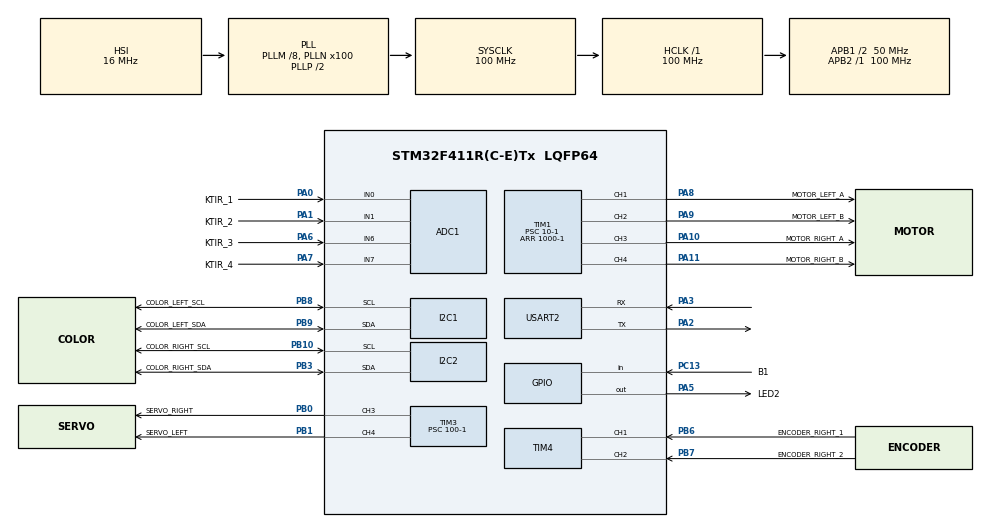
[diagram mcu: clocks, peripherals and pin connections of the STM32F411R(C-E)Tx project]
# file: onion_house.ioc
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ADC1.Channel-0\#ChannelRegularConversion=ADC_CHANNEL_0
ADC1.Channel-1\#ChannelRegularConversion=ADC_CHANNEL_1
ADC1.Channel-2\#ChannelRegularConversion=ADC_CHANNEL_6
ADC1.Channel-3\#ChannelRegularConversion=ADC_CHANNEL_7
ADC1.NbrOfConversion=4
ADC1.NbrOfConversionFlag=1
ADC1.Rank-0\#ChannelRegularConversion=1
ADC1.Rank-1\#ChannelRegularConversion=2
ADC1.Rank-2\#ChannelRegularConversion=3
ADC1.Rank-3\#ChannelRegularConversion=4
ADC1.SamplingTime-0\#ChannelRegularConversion=ADC_SAMPLETIME_3CYCLES
ADC1.SamplingTime-1\#ChannelRegularConversion=ADC_SAMPLETIME_3CYCLES
ADC1.SamplingTime-2\#ChannelRegularConversion=ADC_SAMPLETIME_3CYCLES
ADC1.SamplingTime-3\#ChannelRegularConversion=ADC_SAMPLETIME_3CYCLES
ADC1.master=1
Dma.ADC1.0.Direction=DMA_PERIPH_TO_MEMORY
Dma.ADC1.0.FIFOMode=DMA_FIFOMODE_DISABLE
Dma.ADC1.0.Instance=DMA2_Stream0
Dma.ADC1.0.MemDataAlignment=DMA_MDATAALIGN_HALFWORD
Dma.ADC1.0.MemInc=DMA_MINC_ENABLE
Dma.ADC1.0.Mode=DMA_NORMAL
Dma.ADC1.0.PeriphDataAlignment=DMA_PDATAALIGN_HALFWORD
Dma.ADC1.0.PeriphInc=DMA_PINC_DISABLE
Dma.ADC1.0.Priority=DMA_PRIORITY_LOW
Dma.Request0=ADC1
Mcu.Family=STM32F4
Mcu.Name=STM32F411R(C-E)Tx
Mcu.Package=LQFP64
NVIC.DMA2_Stream0_IRQn=true\:0\:0\:false\:false\:true\:false\:true
NVIC.PriorityGroup=NVIC_PRIORITYGROUP_4
PA0-WKUP.GPIO_Label=KTIR_1
PA0-WKUP.Signal=ADCx_IN0
PA1.GPIO_Label=KTIR_2
PA1.Signal=ADCx_IN1
PA10.GPIO_Label=MOTOR_RIGHT_A
PA10.Signal=S_TIM1_CH3
PA11.GPIO_Label=MOTOR_RIGHT_B
PA11.Signal=S_TIM1_CH4
PA2.Mode=Asynchronous
PA2.Signal=USART2_TX
PA3.Mode=Asynchronous
PA3.Signal=USART2_RX
PA5.GPIO_Label=LED2
PA5.Signal=GPIO_Output
PA6.GPIO_Label=KTIR_3
PA6.Signal=ADCx_IN6
PA7.GPIO_Label=KTIR_4
PA7.Signal=ADCx_IN7
PA8.GPIO_Label=MOTOR_LEFT_A
PA8.Signal=S_TIM1_CH1
PA9.GPIO_Label=MOTOR_LEFT_B
PA9.Signal=S_TIM1_CH2
PB0.GPIO_Label=SERVO_RIGHT
PB0.Signal=S_TIM3_CH3
PB1.GPIO_Label=SERVO_LEFT
PB1.Signal=S_TIM3_CH4
PB10.GPIO_Label=COLOR_RIGHT_SCL
PB10.GPIO_Pu=GPIO_PULLUP
PB10.Mode=I2C
PB10.Signal=I2C2_SCL
PB3.GPIO_Label=COLOR_RIGHT_SDA
PB3.GPIO_Pu=GPIO_PULLUP
PB3.Mode=I2C
PB3.Signal=I2C2_SDA
PB6.GPIO_Label=ENCODER_RIGHT_1
PB6.GPIO_ModeDefaultPP=GPIO_MODE_AF_PP
PB6.GPIO_PuPd=GPIO_NOPULL
PB6.GPIO_Speed=GPIO_SPEED_FREQ_LOW
PB6.Signal=S_TIM4_CH1
PB7.GPIO_Label=ENCODER_RIGHT_2
PB7.GPIO_ModeDefaultPP=GPIO_MODE_AF_PP
PB7.GPIO_PuPd=GPIO_NOPULL
PB7.GPIO_Speed=GPIO_SPEED_FREQ_LOW
PB7.Signal=S_TIM4_CH2
PB8.GPIO_Label=COLOR_LEFT_SCL
PB8.GPIO_Pu=GPIO_PULLUP
PB8.Mode=I2C
PB8.Signal=I2C1_SCL
PB9.GPIO_Label=COLOR_LEFT_SDA
PB9.GPIO_Pu=GPIO_PULLUP
PB9.Mode=I2C
PB9.Signal=I2C1_SDA
PC13-ANTI_TAMP.GPIO_Label=B1
PC13-ANTI_TAMP.Signal=GPIO_Input
PH0\ -\ OSC_IN.Mode=HSE-External-Oscillator
PH0\ -\ OSC_IN.Signal=RCC_OSC_IN
PH1\ -\ OSC_OUT.Mode=HSE-External-Oscillator
PH1\ -\ OSC_OUT.Signal=RCC_OSC_OUT
ProjectManager.HeapSize=0x200
ProjectManager.StackSize=0x400
ProjectManager.TargetToolchain=STM32CubeIDE
RCC.48MHZClocksFreq_Value=50000000
RCC.AHBFreq_Value=100000000
RCC.APB1CLKDivider=RCC_HCLK_DIV2
RCC.APB1Freq_Value=50000000
RCC.APB1TimFreq_Value=100000000
RCC.APB2Freq_Value=100000000
RCC.APB2TimFreq_Value=100000000
RCC.CortexFreq_Value=100000000
RCC.HCLKFreq_Value=100000000
RCC.HSE_VALUE=25000000
RCC.HSI_VALUE=16000000
RCC.LSE_VALUE=32768
RCC.PLLM=8
RCC.PLLN=100
RCC.SYSCLKFreq_VALUE=100000000
RCC.SYSCLKSource=RCC_SYSCLKSOURCE_PLLCLK
RCC.VCOOutputFreq_Value=200000000
SH.ADCx_IN0.0=ADC1_IN0,IN0
SH.ADCx_IN1.0=ADC1_IN1,IN1
SH.ADCx_IN6.0=ADC1_IN6,IN6
SH.ADCx_IN7.0=ADC1_IN7,IN7
SH.S_TIM1_CH1.0=TIM1_CH1,PWM Generation1 CH1
SH.S_TIM1_CH2.0=TIM1_CH2,PWM Generation2 CH2
SH.S_TIM1_CH3.0=TIM1_CH3,PWM Generation3 CH3
SH.S_TIM1_CH4.0=TIM1_CH4,PWM Generation4 CH4
SH.S_TIM3_CH3.0=TIM3_CH3,PWM Generation3 CH3
SH.S_TIM3_CH4.0=TIM3_CH4,PWM Generation4 CH4
SH.S_TIM4_CH1.0=TIM4_CH1,Encoder_Interface
SH.S_TIM4_CH2.0=TIM4_CH2,Encoder_Interface
TIM1.Channel-PWM\ Generation1\ CH1=TIM_CHANNEL_1
TIM1.Channel-PWM\ Generation2\ CH2=TIM_CHANNEL_2
TIM1.Channel-PWM\ Generation3\ CH3=TIM_CHANNEL_3
TIM1.Channel-PWM\ Generation4\ CH4=TIM_CHANNEL_4
TIM1.Period=1000-1
TIM1.Prescaler=10-1
TIM3.Channel-PWM\ Generation3\ CH3=TIM_CHANNEL_3
TIM3.Channel-PWM\ Generation4\ CH4=TIM_CHANNEL_4
TIM3.Period=20000-1
TIM3.Prescaler=100-1
TIM3.Pulse-PWM\ Generation3\ CH3=1000
TIM3.Pulse-PWM\ Generation4\ CH4=1000
TIM4.EncoderMode=TIM_ENCODERMODE_TI12
TIM4.IC1Filter=15
TIM4.IC2Filter=15
USART2.VirtualMode=VM_ASYNC
board=custom

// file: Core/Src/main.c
/* USER CODE BEGIN Header */
/**
  ******************************************************************************
  * @file           : main.c
  * @brief          : Main program body
  ******************************************************************************
  * @attention
  *
  * Copyright (c) 2022 STMicroelectronics.
  * All rights reserved.
  *
  * This software is licensed under terms that can be found in the LICENSE file
  * in the root directory of this software component.
  * If no LICENSE file comes with this software, it is provided AS-IS.
  *
  ******************************************************************************
  */
/* USER CODE END Header */
#include "main.h"

/* USER CODE BEGIN Includes */
#include <stdio.h>
#include "encoder.h"
#include "ktir_sensor.h"
#include "motor.h"
#include "servo.h"
#include "TCS34725.h"
/* USER CODE END Includes */

/* USER CODE BEGIN PD */
#define SERVO_RIGHT_CHANNEL TIM_CHANNEL_3
#define SERVO_RIGHT_TIMER htim3
#define SERVO_LEFT_CHANNEL TIM_CHANNEL_4
#define SERVO_LEFT_TIMER htim3

#define SERVO_RIGHT_START_POSITION 60
#define SERVO_LEFT_START_POSITION 100
#define SERVO_RIGHT_OUT_POSITION 170 //wyrzuca przedmiot
#define SERVO_LEFT_OUT_POSITION 10
#define SERVO_RIGHT_IN_POSITION 0 //wpuszcza przedmiot
#define SERVO_LEFT_IN_POSITION 180

#define CROSSING_DELAY 200 //czas po jakim od wykrycia skrzyżowania zaczynam skręcać

#define MOTOR_RIGHT_CHANNEL_A TIM_CHANNEL_3
#define MOTOR_RIGHT_CHANNEL_B TIM_CHANNEL_4
#define MOTOR_RIGHT_TIMER htim1

#define MOTOR_BASE_SPEED 45 //prędkość silnika podstawowa <0; 100>

#define MOTOR_LEFT_CHANNEL_A TIM_CHANNEL_2
#define MOTOR_LEFT_CHANNEL_B TIM_CHANNEL_1
#define MOTOR_LEFT_TIMER htim1

#define COLOR_LEFT_I2C hi2c1
#define COLOR_RIGHT_I2C hi2c2
#define COLOR_EMPTY_CRITICAL 600 // wartość koloru (funkcja get_light() przy której uznajemy że mamy coś przed sobą (w celu wyrzucenia)

#define KTIR_ADC hadc1
/* USER CODE END PD */

ADC_HandleTypeDef hadc1;
DMA_HandleTypeDef hdma_adc1;

I2C_HandleTypeDef hi2c1;
I2C_HandleTypeDef hi2c2;

TIM_HandleTypeDef htim1;
TIM_HandleTypeDef htim3;
TIM_HandleTypeDef htim4;

UART_HandleTypeDef huart2;

/* USER CODE BEGIN PV */
Servo left_servo, right_servo;

Motor left_motor, right_motor;

ColorSensor left_color, right_color;

Encoder left_encoder, right_encoder;

volatile uint16_t ktir_results[NUMBER_OF_SENSORS];

const uint16_t KTIR_CRITICAL_VALUES[NUMBER_OF_SENSORS] = 	{
		2000u,
		2000u,
		2000u,
		2000u
};

uint32_t tick_open_gates = 0;
uint8_t opened_gates = 0;

int8_t MOTOR_SPEED = MOTOR_BASE_SPEED;

uint8_t crossings = 0;
uint8_t now_crossing = 0;

uint8_t turns = 0;

uint8_t rotating = 0;
uint32_t tick_start_rotating = 0;
uint8_t STOP = 1;

uint8_t side_length = 6;

/* USER CODE END PV */

void SystemClock_Config(void);
static void MX_GPIO_Init(void);
static void MX_DMA_Init(void);
static void MX_ADC1_Init(void);
static void MX_I2C1_Init(void);
static void MX_I2C2_Init(void);
static void MX_TIM1_Init(void);
static void MX_TIM3_Init(void);
static void MX_USART2_UART_Init(void);
static void MX_TIM4_Init(void);
/* USER CODE BEGIN PFP */

uint16_t get_H_from_RGB(uint32_t, uint32_t, uint32_t);
uint8_t is_red_onion(ColorSensor*);
uint8_t is_black(uint16_t value, uint16_t critical_value);
uint8_t is_crossing();
void turn_slight(Motor* slower, Motor* faster, uint8_t value);
void turn(Motor* slower, Motor* faster, uint8_t value);
void go_straight(int8_t speed);
void show_for_calibration();
void show_color_for_calibration(ColorSensor* sensor);
void open_close_gates();
void follow_the_line();

/* USER CODE END PFP */

/* USER CODE BEGIN 0 */
int __io_putchar(int ch)
{
  if (ch == '\n') {
    __io_putchar('\r');
  }

  HAL_UART_Transmit(&huart2, (uint8_t*)&ch, 1, HAL_MAX_DELAY);

  return 1;
}
/* USER CODE END 0 */

int main(void)
{

  /* MCU Configuration--------------------------------------------------------*/

  /* Reset of all peripherals, Initializes the Flash interface and the Systick. */
  HAL_Init();

  /* Configure the system clock */
  SystemClock_Config();

  /* Initialize all configured peripherals */
  MX_GPIO_Init();
  MX_DMA_Init();
  MX_ADC1_Init();
  MX_I2C1_Init();
  MX_I2C2_Init();
  MX_TIM1_Init();
  MX_TIM3_Init();
  MX_USART2_UART_Init();
  MX_TIM4_Init();
  /* USER CODE BEGIN 2 */
  servo_init(&right_servo, &SERVO_RIGHT_TIMER, SERVO_RIGHT_CHANNEL);
  servo_init(&left_servo, &SERVO_LEFT_TIMER, SERVO_LEFT_CHANNEL);

  motor_init(&right_motor, &MOTOR_RIGHT_TIMER, MOTOR_RIGHT_CHANNEL_A, MOTOR_RIGHT_CHANNEL_B);
  motor_init(&left_motor, &MOTOR_LEFT_TIMER, MOTOR_LEFT_CHANNEL_A, MOTOR_LEFT_CHANNEL_B);

  //ENCODER_init(&left_encoder, &htim3);

  //ENCODER_init(&right_encoder, &htim4);

  TCS34725_init(&left_color, &COLOR_LEFT_I2C);
  TCS34725_init(&right_color, &COLOR_RIGHT_I2C);

  KTIR_Init(&KTIR_ADC, ktir_results);
  //uint8_t position = 180;
  //int8_t count = 1;

  //ENCODER_get_value(&left_encoder);
  //ENCODER_get_value(&right_encoder);

  servo_set_angle(&right_servo, SERVO_RIGHT_START_POSITION);

  servo_set_angle(&left_servo, SERVO_LEFT_START_POSITION);

  /* USER CODE END 2 */

  /* Infinite loop */
  /* USER CODE BEGIN WHILE */
  while (1)
  {
	  /**
	   * PROGRAM MUSI:
	   * - dojechać z bazy do planszy
	   * - śledzić linię
	   * - gdy wykryje skrzyżowanie dodać jeden, jeśli to ostatnie to 90 stopni
	   * 	- i potem ruch do następnego skrzyżowania i znowu 90 stopni
	   * - sprawdzać kolor i w zależności od tego odpowiednio poruszać bramkami (open_close_gates)
	   * - liczyć czas - jeżeli już mało to długa do bazy
	   * -
	   */
	if(HAL_GPIO_ReadPin(B1_GPIO_Port, B1_Pin) == 0){
		STOP = STOP == 0 ? 1:0;
		while(HAL_GPIO_ReadPin(B1_GPIO_Port, B1_Pin) == 0){
			HAL_Delay(10);
		}
	}
	KTIR_read();
	//printf("-----\nPrawy\n");
	//show_color_for_calibration(&right_color);
	//printf("Lewy\n");
	//show_color_for_calibration(&left_color);

	show_for_calibration();

	if(!STOP){
		if (turns < 6){
			if(!rotating){
				follow_the_line();
			}
			// Jeśli wykryje skryżowanie to sprawdź czas
			if(is_crossing() && !now_crossing){
				/*rotating = 1;
				tick_start_rotating = HAL_GetTick();*/
				crossings += 1;
				now_crossing = 1;
			} else if (!is_crossing()){
				now_crossing = 0;
			}
			// JEŚLI SKRZYŻOWAŃ TYLE ILE POWINNO BYC W DANYM KIERUNKU
			if(crossings == side_length){
				rotating = 1;
				tick_start_rotating = HAL_GetTick();
				if(side_length >= 3) side_length = 1;
				else side_length = 3;
				crossings = 0;
			}

			//Po upływie pewnego czasu zacznij skręcać
			//TODO sprawdzić jaki crossing_delay ustawić
			if(rotating && HAL_GetTick() - tick_start_rotating > CROSSING_DELAY){
				// TODO dostosować wartości do zakretów
				motor_run(&right_motor, MOTOR_SPEED-20);
				motor_run(&left_motor, -MOTOR_SPEED-15);
			}

			//Jeśli wrócisz na linie to zakończ skręcanie
			//TODO przemyśleć czy może lepiej ustawić od czasu/encodera
			if(!is_black(ktir_results[0], KTIR_CRITICAL_VALUES[0]) && is_black(ktir_results[1], KTIR_CRITICAL_VALUES[1])
					&& is_black(ktir_results[2], KTIR_CRITICAL_VALUES[2]) && !is_black(ktir_results[3], KTIR_CRITICAL_VALUES[3]) && rotating){
				//turn(&left_motor, &right_motor, 5);
				rotating = 0;
				turns += 1;
				//motor_brake(&right_motor);
				//motor_brake(&left_motor);
			}
		}
		else {
			follow_the_line();
		}

		open_close_gates();
	/*
		servo_set_angle(&right_servo, position);

		servo_set_angle(&left_servo, 180 - position);

		if (position <= 0 || position >= 180) count = -count;
		position += 2*count;

		go_straight(&left_motor, &right_motor);

		/*
		if(is_black(ktir_results[1], KTIR_CRITICAL_VALUES[1]) && is_black(ktir_results[2], KTIR_CRITICAL_VALUES[2])){
			go_straight(&left_motor, &right_motor);
		}
		if(!is_black(ktir_results[1], KTIR_CRITICAL_VALUES[1]) && is_black(ktir_results[2], KTIR_CRITICAL_VALUES[2])){
			turn(&left_motor, &right_motor, 5);
		}
		if(is_black(ktir_results[1], KTIR_CRITICAL_VALUES[1]) && !is_black(ktir_results[2], KTIR_CRITICAL_VALUES[2])){
			turn(&right_motor, &left_motor, 5);
		}

		*/
		HAL_Delay(5);
	}
	else {
		motor_brake(&right_motor);
		motor_brake(&left_motor);
	}
    /* USER CODE END WHILE */

  }
}

void SystemClock_Config(void)
{
  RCC_OscInitTypeDef RCC_OscInitStruct = {0};
  RCC_ClkInitTypeDef RCC_ClkInitStruct = {0};

  /** Configure the main internal regulator output voltage
  */
  __HAL_RCC_PWR_CLK_ENABLE();
  __HAL_PWR_VOLTAGESCALING_CONFIG(PWR_REGULATOR_VOLTAGE_SCALE1);
  /** Initializes the RCC Oscillators according to the specified parameters
  * in the RCC_OscInitTypeDef structure.
  */
  RCC_OscInitStruct.OscillatorType = RCC_OSCILLATORTYPE_HSI;
  RCC_OscInitStruct.HSIState = RCC_HSI_ON;
  RCC_OscInitStruct.HSICalibrationValue = RCC_HSICALIBRATION_DEFAULT;
  RCC_OscInitStruct.PLL.PLLState = RCC_PLL_ON;
  RCC_OscInitStruct.PLL.PLLSource = RCC_PLLSOURCE_HSI;
  RCC_OscInitStruct.PLL.PLLM = 8;
  RCC_OscInitStruct.PLL.PLLN = 100;
  RCC_OscInitStruct.PLL.PLLP = RCC_PLLP_DIV2;
  RCC_OscInitStruct.PLL.PLLQ = 4;
  if (HAL_RCC_OscConfig(&RCC_OscInitStruct) != HAL_OK)
  {
    Error_Handler();
  }
  /** Initializes the CPU, AHB and APB buses clocks
  */
  RCC_ClkInitStruct.ClockType = RCC_CLOCKTYPE_HCLK|RCC_CLOCKTYPE_SYSCLK
                              |RCC_CLOCKTYPE_PCLK1|RCC_CLOCKTYPE_PCLK2;
  RCC_ClkInitStruct.SYSCLKSource = RCC_SYSCLKSOURCE_PLLCLK;
  RCC_ClkInitStruct.AHBCLKDivider = RCC_SYSCLK_DIV1;
  RCC_ClkInitStruct.APB1CLKDivider = RCC_HCLK_DIV2;
  RCC_ClkInitStruct.APB2CLKDivider = RCC_HCLK_DIV1;

  if (HAL_RCC_ClockConfig(&RCC_ClkInitStruct, FLASH_LATENCY_3) != HAL_OK)
  {
    Error_Handler();
  }
}

static void MX_ADC1_Init(void)
{

  ADC_ChannelConfTypeDef sConfig = {0};

  /** Configure the global features of the ADC (Clock, Resolution, Data Alignment and number of conversion)
  */
  hadc1.Instance = ADC1;
  hadc1.Init.ClockPrescaler = ADC_CLOCK_SYNC_PCLK_DIV4;
  hadc1.Init.Resolution = ADC_RESOLUTION_12B;
  hadc1.Init.ScanConvMode = ENABLE;
  hadc1.Init.ContinuousConvMode = DISABLE;
  hadc1.Init.DiscontinuousConvMode = DISABLE;
  hadc1.Init.ExternalTrigConvEdge = ADC_EXTERNALTRIGCONVEDGE_NONE;
  hadc1.Init.ExternalTrigConv = ADC_SOFTWARE_START;
  hadc1.Init.DataAlign = ADC_DATAALIGN_RIGHT;
  hadc1.Init.NbrOfConversion = 4;
  hadc1.Init.DMAContinuousRequests = DISABLE;
  hadc1.Init.EOCSelection = ADC_EOC_SINGLE_CONV;
  if (HAL_ADC_Init(&hadc1) != HAL_OK)
  {
    Error_Handler();
  }
  /** Configure for the selected ADC regular channel its corresponding rank in the sequencer and its sample time.
  */
  sConfig.Channel = ADC_CHANNEL_0;
  sConfig.Rank = 1;
  sConfig.SamplingTime = ADC_SAMPLETIME_3CYCLES;
  if (HAL_ADC_ConfigChannel(&hadc1, &sConfig) != HAL_OK)
  {
    Error_Handler();
  }
  /** Configure for the selected ADC regular channel its corresponding rank in the sequencer and its sample time.
  */
  sConfig.Channel = ADC_CHANNEL_1;
  sConfig.Rank = 2;
  if (HAL_ADC_ConfigChannel(&hadc1, &sConfig) != HAL_OK)
  {
    Error_Handler();
  }
  /** Configure for the selected ADC regular channel its corresponding rank in the sequencer and its sample time.
  */
  sConfig.Channel = ADC_CHANNEL_6;
  sConfig.Rank = 3;
  if (HAL_ADC_ConfigChannel(&hadc1, &sConfig) != HAL_OK)
  {
    Error_Handler();
  }
  /** Configure for the selected ADC regular channel its corresponding rank in the sequencer and its sample time.
  */
  sConfig.Channel = ADC_CHANNEL_7;
  sConfig.Rank = 4;
  if (HAL_ADC_ConfigChannel(&hadc1, &sConfig) != HAL_OK)
  {
    Error_Handler();
  }

}

static void MX_I2C1_Init(void)
{

  hi2c1.Instance = I2C1;
  hi2c1.Init.ClockSpeed = 100000;
  hi2c1.Init.DutyCycle = I2C_DUTYCYCLE_2;
  hi2c1.Init.OwnAddress1 = 0;
  hi2c1.Init.AddressingMode = I2C_ADDRESSINGMODE_7BIT;
  hi2c1.Init.DualAddressMode = I2C_DUALADDRESS_DISABLE;
  hi2c1.Init.OwnAddress2 = 0;
  hi2c1.Init.GeneralCallMode = I2C_GENERALCALL_DISABLE;
  hi2c1.Init.NoStretchMode = I2C_NOSTRETCH_DISABLE;
  if (HAL_I2C_Init(&hi2c1) != HAL_OK)
  {
    Error_Handler();
  }

}

static void MX_I2C2_Init(void)
{

  hi2c2.Instance = I2C2;
  hi2c2.Init.ClockSpeed = 100000;
  hi2c2.Init.DutyCycle = I2C_DUTYCYCLE_2;
  hi2c2.Init.OwnAddress1 = 0;
  hi2c2.Init.AddressingMode = I2C_ADDRESSINGMODE_7BIT;
  hi2c2.Init.DualAddressMode = I2C_DUALADDRESS_DISABLE;
  hi2c2.Init.OwnAddress2 = 0;
  hi2c2.Init.GeneralCallMode = I2C_GENERALCALL_DISABLE;
  hi2c2.Init.NoStretchMode = I2C_NOSTRETCH_DISABLE;
  if (HAL_I2C_Init(&hi2c2) != HAL_OK)
  {
    Error_Handler();
  }

}

static void MX_TIM1_Init(void)
{

  TIM_MasterConfigTypeDef sMasterConfig = {0};
  TIM_OC_InitTypeDef sConfigOC = {0};
  TIM_BreakDeadTimeConfigTypeDef sBreakDeadTimeConfig = {0};

  htim1.Instance = TIM1;
  htim1.Init.Prescaler = 10-1;
  htim1.Init.CounterMode = TIM_COUNTERMODE_UP;
  htim1.Init.Period = 1000-1;
  htim1.Init.ClockDivision = TIM_CLOCKDIVISION_DIV1;
  htim1.Init.RepetitionCounter = 0;
  htim1.Init.AutoReloadPreload = TIM_AUTORELOAD_PRELOAD_DISABLE;
  if (HAL_TIM_PWM_Init(&htim1) != HAL_OK)
  {
    Error_Handler();
  }
  sMasterConfig.MasterOutputTrigger = TIM_TRGO_RESET;
  sMasterConfig.MasterSlaveMode = TIM_MASTERSLAVEMODE_DISABLE;
  if (HAL_TIMEx_MasterConfigSynchronization(&htim1, &sMasterConfig) != HAL_OK)
  {
    Error_Handler();
  }
  sConfigOC.OCMode = TIM_OCMODE_PWM1;
  sConfigOC.Pulse = 0;
  sConfigOC.OCPolarity = TIM_OCPOLARITY_HIGH;
  sConfigOC.OCNPolarity = TIM_OCNPOLARITY_HIGH;
  sConfigOC.OCFastMode = TIM_OCFAST_DISABLE;
  sConfigOC.OCIdleState = TIM_OCIDLESTATE_RESET;
  sConfigOC.OCNIdleState = TIM_OCNIDLESTATE_RESET;
  if (HAL_TIM_PWM_ConfigChannel(&htim1, &sConfigOC, TIM_CHANNEL_1) != HAL_OK)
  {
    Error_Handler();
  }
  if (HAL_TIM_PWM_ConfigChannel(&htim1, &sConfigOC, TIM_CHANNEL_2) != HAL_OK)
  {
    Error_Handler();
  }
  if (HAL_TIM_PWM_ConfigChannel(&htim1, &sConfigOC, TIM_CHANNEL_3) != HAL_OK)
  {
    Error_Handler();
  }
  if (HAL_TIM_PWM_ConfigChannel(&htim1, &sConfigOC, TIM_CHANNEL_4) != HAL_OK)
  {
    Error_Handler();
  }
  sBreakDeadTimeConfig.OffStateRunMode = TIM_OSSR_DISABLE;
  sBreakDeadTimeConfig.OffStateIDLEMode = TIM_OSSI_DISABLE;
  sBreakDeadTimeConfig.LockLevel = TIM_LOCKLEVEL_OFF;
  sBreakDeadTimeConfig.DeadTime = 0;
  sBreakDeadTimeConfig.BreakState = TIM_BREAK_DISABLE;
  sBreakDeadTimeConfig.BreakPolarity = TIM_BREAKPOLARITY_HIGH;
  sBreakDeadTimeConfig.AutomaticOutput = TIM_AUTOMATICOUTPUT_DISABLE;
  if (HAL_TIMEx_ConfigBreakDeadTime(&htim1, &sBreakDeadTimeConfig) != HAL_OK)
  {
    Error_Handler();
  }
  HAL_TIM_MspPostInit(&htim1);

}

static void MX_TIM3_Init(void)
{

  TIM_MasterConfigTypeDef sMasterConfig = {0};
  TIM_OC_InitTypeDef sConfigOC = {0};

  htim3.Instance = TIM3;
  htim3.Init.Prescaler = 100-1;
  htim3.Init.CounterMode = TIM_COUNTERMODE_UP;
  htim3.Init.Period = 20000-1;
  htim3.Init.ClockDivision = TIM_CLOCKDIVISION_DIV1;
  htim3.Init.AutoReloadPreload = TIM_AUTORELOAD_PRELOAD_DISABLE;
  if (HAL_TIM_PWM_Init(&htim3) != HAL_OK)
  {
    Error_Handler();
  }
  sMasterConfig.MasterOutputTrigger = TIM_TRGO_RESET;
  sMasterConfig.MasterSlaveMode = TIM_MASTERSLAVEMODE_DISABLE;
  if (HAL_TIMEx_MasterConfigSynchronization(&htim3, &sMasterConfig) != HAL_OK)
  {
    Error_Handler();
  }
  sConfigOC.OCMode = TIM_OCMODE_PWM1;
  sConfigOC.Pulse = 1000;
  sConfigOC.OCPolarity = TIM_OCPOLARITY_HIGH;
  sConfigOC.OCFastMode = TIM_OCFAST_DISABLE;
  if (HAL_TIM_PWM_ConfigChannel(&htim3, &sConfigOC, TIM_CHANNEL_3) != HAL_OK)
  {
    Error_Handler();
  }
  if (HAL_TIM_PWM_ConfigChannel(&htim3, &sConfigOC, TIM_CHANNEL_4) != HAL_OK)
  {
    Error_Handler();
  }
  HAL_TIM_MspPostInit(&htim3);

}

static void MX_TIM4_Init(void)
{

  TIM_Encoder_InitTypeDef sConfig = {0};
  TIM_MasterConfigTypeDef sMasterConfig = {0};

  htim4.Instance = TIM4;
  htim4.Init.Prescaler = 0;
  htim4.Init.CounterMode = TIM_COUNTERMODE_UP;
  htim4.Init.Period = 65535;
  htim4.Init.ClockDivision = TIM_CLOCKDIVISION_DIV1;
  htim4.Init.AutoReloadPreload = TIM_AUTORELOAD_PRELOAD_DISABLE;
  sConfig.EncoderMode = TIM_ENCODERMODE_TI12;
  sConfig.IC1Polarity = TIM_ICPOLARITY_RISING;
  sConfig.IC1Selection = TIM_ICSELECTION_DIRECTTI;
  sConfig.IC1Prescaler = TIM_ICPSC_DIV1;
  sConfig.IC1Filter = 15;
  sConfig.IC2Polarity = TIM_ICPOLARITY_RISING;
  sConfig.IC2Selection = TIM_ICSELECTION_DIRECTTI;
  sConfig.IC2Prescaler = TIM_ICPSC_DIV1;
  sConfig.IC2Filter = 15;
  if (HAL_TIM_Encoder_Init(&htim4, &sConfig) != HAL_OK)
  {
    Error_Handler();
  }
  sMasterConfig.MasterOutputTrigger = TIM_TRGO_RESET;
  sMasterConfig.MasterSlaveMode = TIM_MASTERSLAVEMODE_DISABLE;
  if (HAL_TIMEx_MasterConfigSynchronization(&htim4, &sMasterConfig) != HAL_OK)
  {
    Error_Handler();
  }

}

static void MX_USART2_UART_Init(void)
{

  huart2.Instance = USART2;
  huart2.Init.BaudRate = 115200;
  huart2.Init.WordLength = UART_WORDLENGTH_8B;
  huart2.Init.StopBits = UART_STOPBITS_1;
  huart2.Init.Parity = UART_PARITY_NONE;
  huart2.Init.Mode = UART_MODE_TX_RX;
  huart2.Init.HwFlowCtl = UART_HWCONTROL_NONE;
  huart2.Init.OverSampling = UART_OVERSAMPLING_16;
  if (HAL_UART_Init(&huart2) != HAL_OK)
  {
    Error_Handler();
  }

}

static void MX_DMA_Init(void)
{

  /* DMA controller clock enable */
  __HAL_RCC_DMA2_CLK_ENABLE();

  /* DMA interrupt init */
  /* DMA2_Stream0_IRQn interrupt configuration */
  HAL_NVIC_SetPriority(DMA2_Stream0_IRQn, 0, 0);
  HAL_NVIC_EnableIRQ(DMA2_Stream0_IRQn);

}

static void MX_GPIO_Init(void)
{
  GPIO_InitTypeDef GPIO_InitStruct = {0};

  /* GPIO Ports Clock Enable */
  __HAL_RCC_GPIOC_CLK_ENABLE();
  __HAL_RCC_GPIOH_CLK_ENABLE();
  __HAL_RCC_GPIOA_CLK_ENABLE();
  __HAL_RCC_GPIOB_CLK_ENABLE();

  /*Configure GPIO pin Output Level */
  HAL_GPIO_WritePin(LED2_GPIO_Port, LED2_Pin, GPIO_PIN_RESET);

  /*Configure GPIO pin : B1_Pin */
  GPIO_InitStruct.Pin = B1_Pin;
  GPIO_InitStruct.Mode = GPIO_MODE_INPUT;
  GPIO_InitStruct.Pull = GPIO_NOPULL;
  HAL_GPIO_Init(B1_GPIO_Port, &GPIO_InitStruct);

  /*Configure GPIO pin : LED2_Pin */
  GPIO_InitStruct.Pin = LED2_Pin;
  GPIO_InitStruct.Mode = GPIO_MODE_OUTPUT_PP;
  GPIO_InitStruct.Pull = GPIO_NOPULL;
  GPIO_InitStruct.Speed = GPIO_SPEED_FREQ_LOW;
  HAL_GPIO_Init(LED2_GPIO_Port, &GPIO_InitStruct);

}

/* USER CODE BEGIN 4 */
/**
 * @brief Get hue from RGB values
 * @param red: Red value (0, 255)
 * @param green: Green value (0, 255)
 * @param blue: Blue value (0, 255)
 */

uint16_t get_H_from_RGB(uint32_t red, uint32_t green, uint32_t blue){
	uint16_t c_max = red > green ? (red > blue ? red : blue) : (green > blue ? green : blue);
	uint16_t c_min = red < green ? (red < blue ? red : blue) : (green < blue ? green : blue);

	float d = (float)(c_max - c_min);
	d /= 255.0;
	uint16_t h = 0;
	float r = red/255.0;
	float g = green/255.0;
	float b = blue/255.0;
	if (d == 0){
	  h = 0;
	}
	else if(c_max == red){
	  h = (int)(60*(g - b)/d + 360)%360;
	}
	else if(c_max == green){
	  h = (60*(b - r)/d) + 120;
	}
	else {
	  h = (60*(r - g)/d) + 240;
	}
	return h;
}

uint8_t is_red_onion(ColorSensor *sensor){
	uint16_t red = 0;
	unlock(sensor);
	get_red(sensor, &red);
	uint16_t color = 0;
	get_light(sensor, &color);
	uint16_t green = 0;
	get_green(sensor, &green);
	uint16_t blue = 0;
	get_blue(sensor, &blue);
	lock(sensor);

	uint16_t h = get_H_from_RGB(red, green, blue);

	if(h > 230 || h < 12) {
		return 1;
	}
	else {
		return 0;
	}
}

uint8_t is_black(uint16_t value, uint16_t critical_value){
	return value > critical_value ? 1:0;
}

void show_for_calibration(){
	/**
   * Poniżej fragment do kalibracji krytycznych wartości
   */
	printf("Sensor[0]: %d\tSensor[1]: %d\tSensor[2]: %d\tSensor[3]: %d\n", ktir_results[0], ktir_results[1], ktir_results[2], ktir_results[3]);

  	printf("------\nCzarne[0]: %d\tCzarne[1]: %d\tCzarne[2]: %d\tCzarne[3]: %d\n",
	is_black(ktir_results[0], KTIR_CRITICAL_VALUES[0]), is_black(ktir_results[1], KTIR_CRITICAL_VALUES[1]),
	is_black(ktir_results[2], KTIR_CRITICAL_VALUES[2]), is_black(ktir_results[3], KTIR_CRITICAL_VALUES[0]));
}

void turn_slight(Motor* slower, Motor* faster, uint8_t value){
	motor_run(slower, MOTOR_BASE_SPEED - value);
	motor_run(faster, MOTOR_BASE_SPEED);
}

void go_straight(int8_t speed){
	motor_run(&left_motor, speed);
	motor_run(&right_motor, speed);

}

void turn(Motor* slower, Motor* faster, uint8_t value){
	motor_run(slower, MOTOR_BASE_SPEED - value);
	motor_run(faster, MOTOR_BASE_SPEED + value);
}

void show_color_for_calibration(ColorSensor* sensor){
	uint16_t red = 0;
		unlock(sensor);
		get_red(sensor, &red);
		uint16_t color = 0;
		get_light(sensor, &color);
		uint16_t green = 0;
		get_green(sensor, &green);
		uint16_t blue = 0;
		get_blue(sensor, &blue);
		lock(sensor);
		uint16_t h = get_H_from_RGB(red, green, blue);
		printf("R: %d\tG: %d\tB: %d\tC: %d \t H = %d\n", red, green, blue, color, h);

}

void open_close_gates(){
	if ((is_red_onion(&left_color) || is_red_onion(&right_color)) && opened_gates == 0){
			servo_set_angle(&right_servo, SERVO_RIGHT_IN_POSITION);
			servo_set_angle(&left_servo, SERVO_LEFT_IN_POSITION);
			opened_gates = 1;
			tick_open_gates = HAL_GetTick();
			MOTOR_SPEED = MOTOR_BASE_SPEED + 10;
		} else {
			uint16_t right = 0, left = 0;
			get_light(&right_color, &right);
			get_light(&left_color, &left);
			// SPRAWDZAM JASNOSC DZIEKI CZEMU WIEM CZY COS JEST PRZY BRAMCE
			if((right > COLOR_EMPTY_CRITICAL || left > COLOR_EMPTY_CRITICAL) && opened_gates == 0){
				servo_set_angle(&right_servo, SERVO_RIGHT_OUT_POSITION);
				servo_set_angle(&left_servo, SERVO_LEFT_OUT_POSITION);
				opened_gates = 2;
				tick_open_gates = HAL_GetTick();
			} else if (opened_gates && HAL_GetTick() - tick_open_gates > 2000){

				  servo_set_angle(&right_servo, SERVO_RIGHT_START_POSITION);
				  MOTOR_SPEED = MOTOR_BASE_SPEED;

				  servo_set_angle(&left_servo, SERVO_LEFT_START_POSITION);
				  opened_gates = 0;
			}
		}
}

void follow_the_line(){
	if(is_black(ktir_results[1], KTIR_CRITICAL_VALUES[1]) && is_black(ktir_results[2], KTIR_CRITICAL_VALUES[2])){
		go_straight(MOTOR_SPEED);
	}
	// jeśli srodkowy prawy nie jest nad linia a srodkowy lewy jest to skrec w lewo
	else if(!is_black(ktir_results[1], KTIR_CRITICAL_VALUES[1]) && is_black(ktir_results[2], KTIR_CRITICAL_VALUES[2])){
		if(!is_black(ktir_results[3], KTIR_CRITICAL_VALUES[3])){
			//jesli nie skrajny lewy nad linią (czyli nie wyjechaliśmy za mocno) to turn o mniejszą wartość
			turn(&left_motor, &right_motor, 7);
			//skret w lewo
		} else {
			// skrajny jest nad linią, wiec odjechalismy troche mocniej, wiec skrec troche mocniej
			// TODO dostosować wartości
			turn(&left_motor, &right_motor, 13);
		}
	}
	// to samo tylko skrecamy w prawo
	else if(is_black(ktir_results[1], KTIR_CRITICAL_VALUES[1]) && !is_black(ktir_results[2], KTIR_CRITICAL_VALUES[2])){
		if(!is_black(ktir_results[0], KTIR_CRITICAL_VALUES[0])){
			turn(&right_motor, &left_motor, 7);
		} else {
			turn(&right_motor, &left_motor, 13);
		}
	}
	// TODO warunek na np. tylko skrajne zeby jeszcze mocniej skrecic
	// TODO wszystkie białe (jeśli turns 6 wszystkie białe to może jesteśmy pomiędzy bazą)
	else if (turns == 6){
		go_straight(MOTOR_SPEED);
	}
}

uint8_t is_crossing(){
	return is_black(ktir_results[0], KTIR_CRITICAL_VALUES[0]) && is_black(ktir_results[1], KTIR_CRITICAL_VALUES[1])
			&& is_black(ktir_results[2], KTIR_CRITICAL_VALUES[2]) && is_black(ktir_results[3], KTIR_CRITICAL_VALUES[3]);
}

/* USER CODE END 4 */

void Error_Handler(void)
{
  __disable_irq();
  while (1)
  {
  }
}
